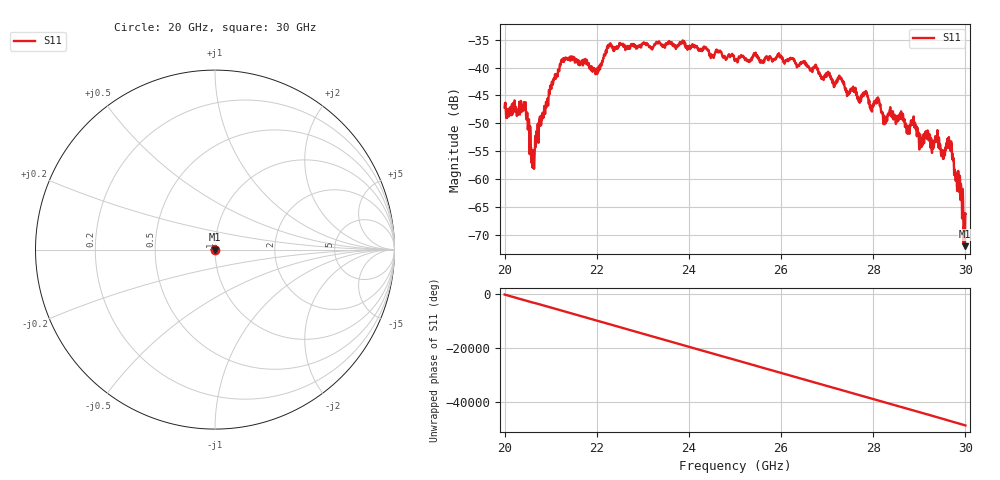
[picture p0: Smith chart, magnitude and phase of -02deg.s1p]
#  HZ  S  RI  R  50.00
! Rohde & Schwarz ZVA40 4Ports - Version 3.90 - 1145.1110k42 SN: 100403
! Date: 2023-10-03 12:36:56
! Measurement: S12
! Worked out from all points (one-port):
!   5001 points, 20 GHz to 30 GHz, reference 50 ohm
!   lowest |S11| = -72.0 dB at 29.99 GHz (marker M1), VSWR 1.00, Z = 50 + j0.00189 ohm
!   |S11| at or under -10 dB: start of sweep to end of sweep
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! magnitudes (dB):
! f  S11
! 20 GHz  -47.1
! 20.42 GHz  -46.3
! 20.62 GHz  -57.5
! 20.74 GHz  -53.5
! 21.25 GHz  -39.0
! 22 GHz  -40.5
! 22.26 GHz  -35.9
! 22.5 GHz  -35.9
! 23.75 GHz  -36.2
! 25 GHz  -38.6
! 26.25 GHz  -38.4
! 27.15 GHz  -43.4
! 27.28 GHz  -41.8
! 27.5 GHz  -44.2
! 27.84 GHz  -44.4
! 27.96 GHz  -47.2
! 28.1 GHz  -45.4
! 28.26 GHz  -48.8
! 28.6 GHz  -47.8
! 28.75 GHz  -51.7
! 28.86 GHz  -49.9
! 29.03 GHz  -54.1
! 29.39 GHz  -52.0
! 29.51 GHz  -55.5
! 29.65 GHz  -54.4
! 29.9 GHz  -63.6
! 29.99 GHz  -72.0
! 30 GHz  -66.2
